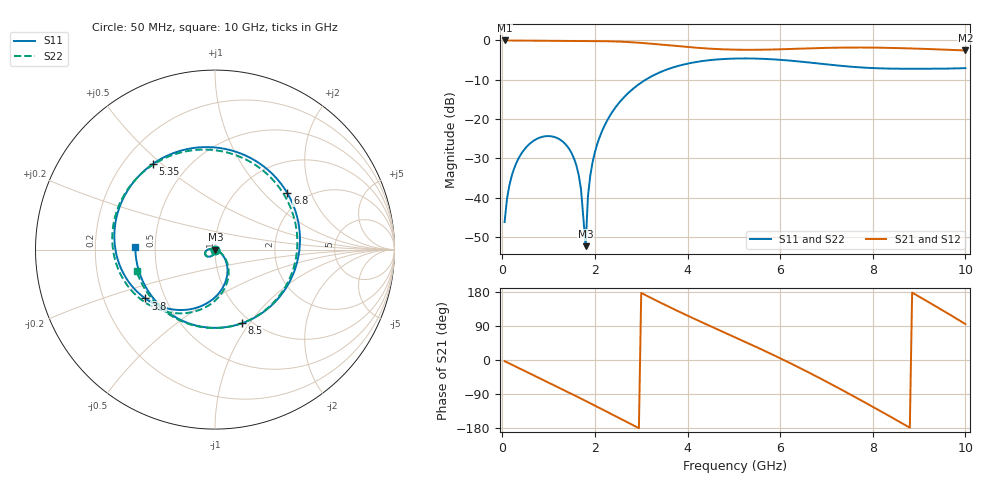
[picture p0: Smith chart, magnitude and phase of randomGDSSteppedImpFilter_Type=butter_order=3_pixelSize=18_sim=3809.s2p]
! freq	dB(S11)	phase(S11)	dB(S12)	phase(S12)
!  dB(S21)	phase(S21)	dB(S22)	phase(S22)
!S-par simulation data
#  GHz  S  DB  R 50
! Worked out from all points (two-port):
!   200 points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, 50 MHz to 10 GHz, reference 50 ohm
!   highest |S21| = -0.01 dB at 50 MHz (marker M1); lowest = -2.6 dB at 10 GHz (marker M2)
!   |S21| within 3 dB of the highest: start of sweep to end of sweep
!   lowest |S11| = -52.3 dB at 1.8 GHz (marker M3), VSWR 1.00, Z = 50.2 + j0.0188 ohm
!   |S11| at or under -10 dB: start of sweep to 3.095 GHz
!   |S22| runs from -52.4 to -4.6 dB; largest |S21 - S12| = 0
!   S11 on the Smith chart (normalised r, x): 50 MHz: 1.00, -0.01; 3.8 GHz: 0.39, -0.27; 5.35 GHz: 0.32, +0.47; 6.8 GHz: 1.63, +1.38; 8.5 GHz: 0.91, -0.92; 10 GHz: 0.38, +0.01
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0.05  -46.20 -89.9  -0.01 -3.0  -0.01 -3.0  -46.22 -89.1
0.35  -30.04 -111.3  -0.03 -21.0  -0.03 -21.0  -30.05 -110.7
0.95  -24.35 -148.4  -0.08 -56.7  -0.08 -56.7  -24.35 -147.0
1.5  -28.76 177.4  -0.11 -89.7  -0.11 -89.7  -28.78 -179.9
1.65  -34.22 166.8  -0.11 -98.9  -0.11 -98.9  -34.29 170.9
1.75  -45.07 153.6  -0.12 -105.0  -0.12 -105.0  -45.45 163.8
1.8  -52.34 4.4  -0.12 -108.0  -0.12 -108.0  -52.41 -14.2
1.85  -39.60 -18.0  -0.13 -111.1  -0.13 -111.1  -39.48 -20.1
1.9  -34.35 -23.4  -0.13 -114.2  -0.13 -114.2  -34.28 -23.4
2.15  -23.17 -41.2  -0.17 -129.7  -0.17 -129.7  -23.14 -39.0
2.75  -13.04 -80.0  -0.43 -167.4  -0.43 -167.4  -13.03 -76.2
3.4  -8.13 -120.9  -1.02 152.3  -1.02 152.3  -8.12 -115.5
3.8  -6.48 -145.0  -1.46 128.6  -1.46 128.6  -6.47 -138.5
5.05  -4.60 143.3  -2.36 58.6  -2.36 58.6  -4.59 154.2
5.35  -4.59 126.1  -2.39 41.9  -2.39 41.9  -4.58 138.3
6.7  -5.70 44.2  -1.99 -38.1  -1.99 -38.1  -5.70 61.7
6.8  -5.83 37.9  -1.95 -44.4  -1.95 -44.4  -5.82 55.6
7.6  -6.75 -12.7  -1.80 -96.6  -1.80 -96.6  -6.74 4.2
8.35  -7.16 -60.2  -1.89 -147.4  -1.89 -147.4  -7.16 -47.2
8.5  -7.19 -70.0  -1.93 -157.7  -1.93 -157.7  -7.18 -57.7
9.2  -7.20 -118.2  -2.18 153.2  -2.18 153.2  -7.15 -107.1
10  -7.04 178.2  -2.55 94.9  -2.55 94.9  -6.87 -164.7
